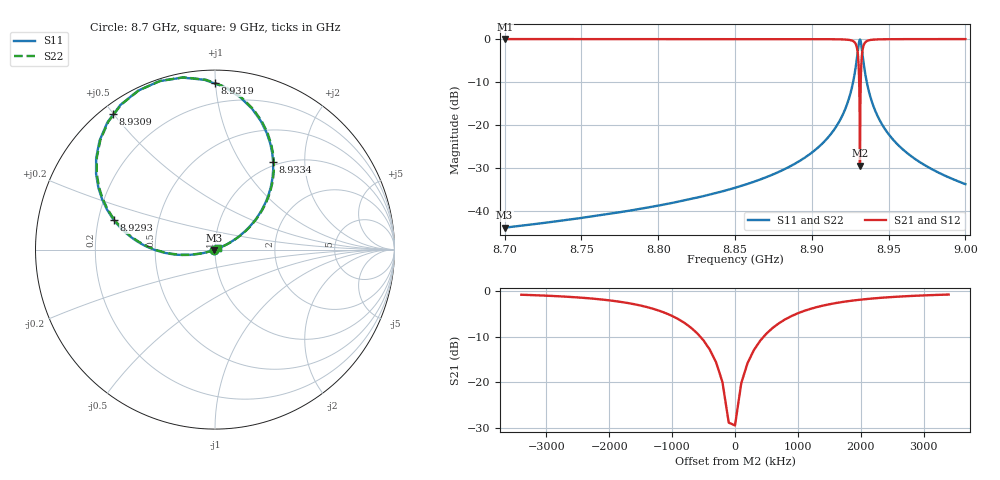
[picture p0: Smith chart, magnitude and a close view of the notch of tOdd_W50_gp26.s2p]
! Sonnet Data File
! From: emgraph Version : 16.52
! From Project: transmon_trial2
! Data is De-embedded
! Data File Written: 10/20/2017 13:43:12
!< HDATE 10/20/2017 10:41:42
!< MDATE 10/20/2017 10:41:42
!< PARAMS
!< Lj = 15.24
!< Gap = 26.0
!< Width = 50.0
!< Airgap = 30.0
!< Pwidth = 2000.0
!< END PARAMS
# GHZ S MA R 45.40000
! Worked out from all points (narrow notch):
!   3001 points, 8.7 GHz to 9 GHz, reference 45.4 ohm
!   highest |S21| = 0.00 dB at 8.7002 GHz (marker M1); lowest = -29.4 dB at 8.9314 GHz (marker M2)
!   notch at M2: 29.4 dB deep, 570 kHz wide at half that depth
!   lowest |S11| = -43.8 dB at 8.7 GHz (marker M3), VSWR 1.01, Z = 44.9 - j0.209 ohm
!   |S11| at or under -10 dB: start of sweep to 8.9269 GHz; 8.9358 GHz to end of sweep
!   |S22| runs from -43.8 to -0.1 dB; largest |S21 - S12| = 0
!   S11 on the Smith chart (normalised r, x): 8.7 GHz: 0.99, -0.00; 8.9293 GHz: 0.27, +0.13; 8.9309 GHz: 0.03, +0.50; 8.9319 GHz: 0.07, +1.00; 8.9334 GHz: 0.95, +1.40; 9 GHz: 1.04, +0.02
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8.7  0.006474 -158.9  1 -68.7  1 -68.7  0.006474 -158.4
!< P1 F=8.7 Eeff=(4.74736053 -6.3969e-5) Z0=(45.1403777 -2.0193e-4) R=0.0 C=0.0
!< P2 F=8.7 Eeff=(4.74736053 -6.3969e-5) Z0=(45.1403777 -2.0193e-4) R=0.0 C=0.0
8.7002  0.006481 -158.9  1 -68.7  1 -68.7  0.006481 -158.4
8.75  0.008396 -159.3  1 -69.2  1 -69.2  0.008396 -159.0
8.8  0.01167 -159.8  0.9999 -69.8  0.9999 -69.8  0.01167 -159.7
8.85  0.01878 -160.5  0.9998 -70.6  0.9998 -70.6  0.01878 -160.6
8.9  0.04806 -162.5  0.9988 -72.6  0.9988 -72.6  0.04806 -162.8
8.9199  0.1295 -167.4  0.9914 -77.5  0.9914 -77.5  0.1295 -167.8
8.9269  0.3173 -178.6  0.9471 -88.6  0.9471 -88.6  0.3173 -179.0
8.9283  0.4379 173.8  0.8966 -96.1  0.8966 -96.1  0.4379 173.4
8.9293  0.5852 163.8  0.806 -105.9  0.806 -105.9  0.5852 163.4
8.9301  0.7604 149.8  0.6392 -119.6  0.6392 -119.6  0.7604 149.4
8.9309  0.947 126.8  0.2877 -141.3  0.2877 -141.3  0.9469 126.3
8.9314  0.9882 108.3  0.0338 -1.5  0.0338 -1.5  0.9882 107.8
8.9319  0.929 90.1  0.3423 -1.9  0.3423 -1.9  0.929 89.6
8.9326  0.761 70.4  0.6385 -20.6  0.6385 -20.6  0.761 69.9
8.9334  0.5852 56.4  0.806 -34.3  0.806 -34.3  0.5852 55.9
8.9351  0.3679 41.9  0.9282 -48.6  0.9282 -48.6  0.3679 41.4
8.9375  0.2345 33.8  0.9715 -56.6  0.9715 -56.6  0.2345 33.3
8.9427  0.1293 27.6  0.9914 -62.8  0.9914 -62.8  0.1293 27.0
8.95  0.07877 24.6  0.9968 -65.8  0.9968 -65.8  0.07877 24.0
8.9699  0.03773 22.1  0.9993 -68.3  0.9993 -68.3  0.03773 21.4
9  0.02073 20.9  0.9998 -69.5  0.9998 -69.5  0.02073 20.1
